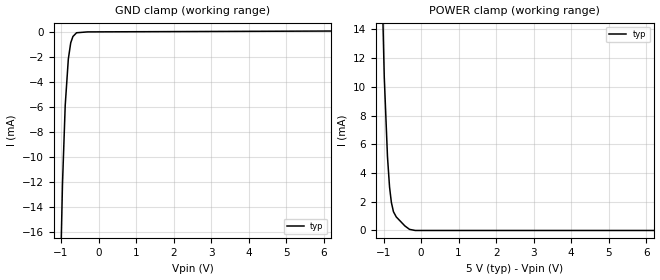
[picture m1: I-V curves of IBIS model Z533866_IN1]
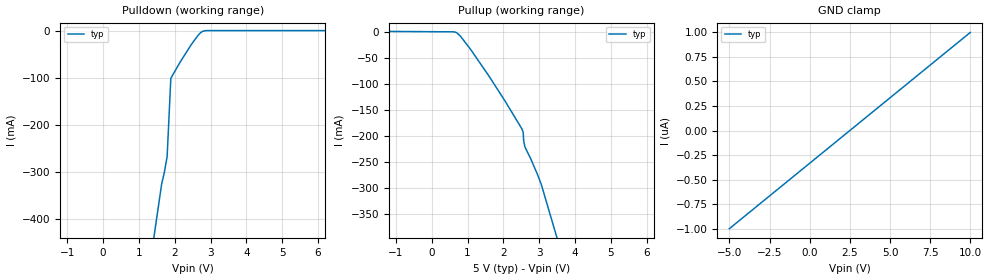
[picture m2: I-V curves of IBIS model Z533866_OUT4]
| YOU ARE ONLY AUTHORIZED TO USE THIS SOFTWARE
| ACCORDING TO LICENSOR'S LICENSE RESTRICTIONS.
[IBIS Ver] 3.1
[File Name] mc100el30dw.ibs
[File Rev] 1
[Source] Derived from MMC100EL29DW.IBS
|   Measured and created by ICX Technology
[Date] 10/01/2003
[Copyright]
| (C) COPYRIGHT 1993-2000
| MENTOR GRAPHICS CORPORATION
| ICX STANDARD LIBRARY, ICX PROJECT MODELING,
| ICX CUSTOM MODELING, ICX VENDOR MODEL
| ALL RIGHTS RESERVED.
| THE FOLLOWING ARE TRADEMARKS OR SERVICE MARKS OF
| MENTOR GRAPHICS CORPORATION:ICX (R), ICX STANDARD
| LIBRARY(R), ICX PROJECT MODELING(R), ICX CUSTOM
| MODELING(R), qualityIBIS(TM), MODELVIEWER(TM),
| AND MODELEDITOR(TM)
| ALL COPIES OF SOFTWARE, INCLUDING BUT NOT LIMITED TO
| ANY MODIFICATIONS, ENHANCEMENTS OR DERIVATIVE WORKS,
| MUST CONTAIN ALL MENTOR GRAPHICS CORPORATION'S
| NOTICES AND LEGENDS, INCLUDING THOSE EMBEDDED IN
| SOFTWARE AND THOSE AFFIXED TO SOFTWARE MEDIUM
| AND CONTAINER, AS RECEIVED FROM MENTOR GRAPHICS
| CORPORATION.
|  ZAP Model Builder 2.7
[Component] MC100EL30DW
[Manufacturer] OnSemiconductor
[Package]
| variable   typ   min   max
R_pkg  .158ohms NA NA
L_pkg  3.37nH NA NA
C_pkg  .4pF NA NA
[Pin] signal_name  model_name  R_pin  L_pin C_pin
1 S012 Z533866_IN3 .15 2.51n .36p
2 D0 Z533866_IN1 .15 2.51n .36p
3 CLK0 Z533866_IN2 .158 3.36n .4p
4 R0 Z533866_IN3 .166 4.25n .44p
5 D1 Z533866_IN1 .166 4.25n .44p
6 CLK1 Z533866_IN2 .158 3.36n .4p
7 R1 Z533866_IN3 .166 4.25n .44p
8 D2 Z533866_IN1 .15 2.51n .36p
9 CLK2 Z533866_IN2 .158 3.36n .4p
10 R2 Z533866_IN3 .166 4.25n .44p
11 VEE POWER .166 4.25n .44p
12 _Q2 Z533866_OUT4 .162 3.8n .42p
13 Q2 Z533866_OUT4 .158 3.36n .4p
14 VCC POWER .154 2.93n .38p
15 _Q1 Z533866_OUT4 .162 3.8n .42p
16 Q1 Z533866_OUT4 .158 3.36n .4p
17 VCC POWER .154 2.93n .38p
18 _Q0 Z533866_OUT4 .162 3.8n .42p
19 Q0 Z533866_OUT4 .158 3.36n .4p
20 VCC POWER .154 2.93n .38p
| Models and submodels in the file (4): Z533866_IN1 (Input), Z533866_IN2 (Input), Z533866_IN3 (Input), Z533866_OUT4 (Output)
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| (C) COPYRIGHT 1993-2000
| MENTOR GRAPHICS CORPORATION
| ICX STANDARD LIBRARY, ICX PROJECT MODELING,
| ICX CUSTOM MODELING, ICX VENDOR MODEL
| ALL RIGHTS RESERVED.
| THE FOLLOWING ARE TRADEMARKS OR SERVICE MARKS OF
| MENTOR GRAPHICS CORPORATION:ICX (R), ICX STANDARD
| LIBRARY(R), ICX PROJECT MODELING(R), ICX CUSTOM
| MODELING(R), qualityIBIS(TM), MODELVIEWER(TM),
| AND MODELEDITOR(TM)
| ALL COPIES OF SOFTWARE, INCLUDING BUT NOT LIMITED TO
| ANY MODIFICATIONS, ENHANCEMENTS OR DERIVATIVE WORKS,
| MUST CONTAIN ALL MENTOR GRAPHICS CORPORATION'S
| NOTICES AND LEGENDS, INCLUDING THOSE EMBEDDED IN
| SOFTWARE AND THOSE AFFIXED TO SOFTWARE MEDIUM
| AND CONTAINER, AS RECEIVED FROM MENTOR GRAPHICS
| CORPORATION.
| Model Application Version 1.89 2/18/99.
[Model] Z533866_IN1
Model_type Input
Vinl = 3.525V
Vinh = 3.835V
C_comp 4.000pF NA NA
| variable typ   min   max
[Voltage Range] 5.000V NA NA
[GND Clamp Reference] 0.000V NA NA
[POWER Clamp Reference] 5.000V NA NA
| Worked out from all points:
|   GND clamp passes 1 mA (typ) near -0.75 V on its own axis
|   POWER clamp passes 1 mA (typ) near -0.67 V on its own axis
[GND Clamp]
-5V       -563.8mA   NA         NA
-961.6mV  -12.23mA   NA         NA
-888.7mV  -5.901mA   NA         NA
-805.7mV  -2.188mA   NA         NA
-741.7mV  -888.4uA   NA         NA
-683.1mV  -386.7uA   NA         NA
-586.7mV  -87.81uA   NA         NA
-293.4mV  -18.35uA   NA         NA
10V       90.15uA    NA         NA
[POWER Clamp]
-5V       455.3mA    NA         NA
-981mV    10.7mA     NA         NA
-895mV    5.142mA    NA         NA
-840mV    3.03mA     NA         NA
-791mV    1.952mA    NA         NA
-736mV    1.307mA    NA         NA
-660mV    939.4uA    NA         NA
-430mV    313.3uA    NA         NA
-309mV    79.1uA     NA         NA
-154.5mV  0A         NA         NA
10V       0A         NA         NA
| (C) COPYRIGHT 1993-2000
| MENTOR GRAPHICS CORPORATION
| ICX STANDARD LIBRARY, ICX PROJECT MODELING,
| ICX CUSTOM MODELING, ICX VENDOR MODEL
| ALL RIGHTS RESERVED.
| THE FOLLOWING ARE TRADEMARKS OR SERVICE MARKS OF
| MENTOR GRAPHICS CORPORATION:ICX (R), ICX STANDARD
| LIBRARY(R), ICX PROJECT MODELING(R), ICX CUSTOM
| MODELING(R), qualityIBIS(TM), MODELVIEWER(TM),
| AND MODELEDITOR(TM)
| ALL COPIES OF SOFTWARE, INCLUDING BUT NOT LIMITED TO
| ANY MODIFICATIONS, ENHANCEMENTS OR DERIVATIVE WORKS,
| MUST CONTAIN ALL MENTOR GRAPHICS CORPORATION'S
| NOTICES AND LEGENDS, INCLUDING THOSE EMBEDDED IN
| SOFTWARE AND THOSE AFFIXED TO SOFTWARE MEDIUM
| AND CONTAINER, AS RECEIVED FROM MENTOR GRAPHICS
| CORPORATION.
| Model Application Version 1.89 2/18/99.
[Model] Z533866_OUT4
Model_type Output
Vref=3.000V
Rref=50.00ohms
Cref=0.000F
Vmeas=3.670V
C_comp 4.000pF NA NA
| variable typ   min   max
[Voltage Range] 5.000V NA NA
[POWER Clamp Reference] 5.000V NA NA
[Pullup Reference] 5.000V NA NA
[Pulldown Reference] 0.000V NA NA
[GND Clamp Reference] 0.000V NA NA
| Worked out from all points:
|   slope of the pulldown table from 0 to 0.75 V, typ, clamps not added: 1.91 ohm
|   slope of the pullup table from 0 to 0.75 V, typ, clamps not added: 142 ohm
[GND Clamp]
-5V       -1uA       NA         NA
10V       1uA        NA         NA
[Pulldown]
-5V       -3.795A    NA         NA
1.632V    -325.7mA   NA         NA
1.709V    -300.4mA   NA         NA
1.787V    -266.5mA   NA         NA
1.89V     -100.8mA   NA         NA
2.153V    -66.21mA   NA         NA
2.451V    -30.57mA   NA         NA
2.632V    -11.62mA   NA         NA
2.763V    -1.942mA   NA         NA
2.9V      222.7uA    NA         NA
10V       256uA      NA         NA
[Pullup]
-5V       2.451mA    NA         NA
662mV     -681.1uA   NA         NA
796mV     -7.939mA   NA         NA
1.089V    -34.19mA   NA         NA
1.592V    -84.58mA   NA         NA
2.519V    -187mA     NA         NA
2.553V    -193.3mA   NA         NA
2.568V    -209.7mA   NA         NA
2.602V    -221.7mA   NA         NA
2.759V    -243.7mA   NA         NA
3.061V    -294.3mA   NA         NA
10V       -1.921A    NA         NA
[POWER Clamp]
-5V       0A         NA         NA
10V       0A         NA         NA
[Ramp]
| variable typ min max
dV/dt_r 897.3m/1.889n NA NA
dV/dt_f 897.3m/1.503n NA NA
R_load = 50.0Ohms
